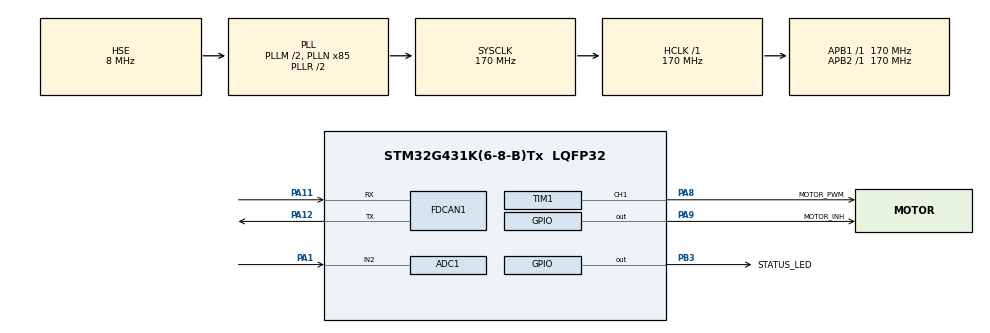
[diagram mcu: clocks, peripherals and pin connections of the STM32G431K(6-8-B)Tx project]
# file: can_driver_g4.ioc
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ADC1.Channel-0\#ChannelRegularConversion=ADC_CHANNEL_2
ADC1.ClockPrescaler=ADC_CLOCK_ASYNC_DIV4
ADC1.NbrOfConversionFlag=1
ADC1.OffsetNumber-0\#ChannelRegularConversion=ADC_OFFSET_NONE
ADC1.Rank-0\#ChannelRegularConversion=1
ADC1.SamplingTime-0\#ChannelRegularConversion=ADC_SAMPLETIME_247CYCLES_5
ADC1.master=1
FDCAN1.AutoRetransmission=ENABLE
FDCAN1.CalculateBaudRateNominal=499999
FDCAN1.CalculateTimeBitNominal=2000
FDCAN1.CalculateTimeQuantumNominal=117.64705882352942
FDCAN1.NominalPrescaler=20
FDCAN1.NominalTimeSeg1=13
FDCAN1.NominalTimeSeg2=3
FDCAN1.ProtocolException=ENABLE
FDCAN1.TransmitPause=ENABLE
Mcu.Family=STM32G4
Mcu.Name=STM32G431K(6-8-B)Tx
Mcu.Package=LQFP32
NVIC.FDCAN1_IT0_IRQn=true\:5\:0\:true\:false\:true\:true\:true\:true
NVIC.PriorityGroup=NVIC_PRIORITYGROUP_4
PA1.Mode=IN2-Single-Ended
PA1.Signal=ADC1_IN2
PA11.Mode=FDCAN_Activate
PA11.Signal=FDCAN1_RX
PA12.Mode=FDCAN_Activate
PA12.Signal=FDCAN1_TX
PA8.GPIO_Label=MOTOR_PWM
PA8.GPIO_Speed=GPIO_SPEED_FREQ_HIGH
PA8.Signal=S_TIM1_CH1
PA9.GPIO_Label=MOTOR_INH
PA9.Signal=GPIO_Output
PB3.GPIO_Label=STATUS_LED
PB3.Signal=GPIO_Output
PF0-OSC_IN.Mode=HSE-External-Oscillator
PF0-OSC_IN.Signal=RCC_OSC_IN
PF1-OSC_OUT.Mode=HSE-External-Oscillator
PF1-OSC_OUT.Signal=RCC_OSC_OUT
ProjectManager.HeapSize=0x200
ProjectManager.StackSize=0x400
ProjectManager.TargetToolchain=CMake
RCC.ADC12Freq_Value=170000000
RCC.AHBFreq_Value=170000000
RCC.APB1Freq_Value=170000000
RCC.APB1TimFreq_Value=170000000
RCC.APB2Freq_Value=170000000
RCC.APB2TimFreq_Value=170000000
RCC.CortexFreq_Value=170000000
RCC.EXTERNAL_CLOCK_VALUE=12288000
RCC.HCLKFreq_Value=170000000
RCC.HSE_VALUE=8000000
RCC.HSI48_VALUE=48000000
RCC.HSI_VALUE=16000000
RCC.LSE_VALUE=32768
RCC.PLLM=RCC_PLLM_DIV2
RCC.PLLN=85
RCC.PLLSourceVirtual=RCC_PLLSOURCE_HSE
RCC.SYSCLKFreq_VALUE=170000000
RCC.SYSCLKSource=RCC_SYSCLKSOURCE_PLLCLK
RCC.USBFreq_Value=170000000
RCC.VCOOutputFreq_Value=340000000
SH.S_TIM1_CH1.0=TIM1_CH1,PWM Generation1 CH1
TIM1.Channel-PWM\ Generation1\ CH1=TIM_CHANNEL_1
TIM1.PeriodNoDither=8499
VP_SYS_VS_DBSignals.Mode=DisableDeadBatterySignals
VP_TIM1_VS_ClockSourceINT.Mode=Internal
board=custom

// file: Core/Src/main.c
/* USER CODE BEGIN Header */
/**
  ******************************************************************************
  * @file           : main.c
  * @brief          : Main program body
  ******************************************************************************
  * @attention
  *
  * Copyright (c) 2025 STMicroelectronics.
  * All rights reserved.
  *
  * This software is licensed under terms that can be found in the LICENSE file
  * in the root directory of this software component.
  * If no LICENSE file comes with this software, it is provided AS-IS.
  *
  ******************************************************************************
  */
/* USER CODE END Header */
#include "main.h"

/* USER CODE BEGIN Includes */
#include "automate.h"
#include "common.h"

#include "left_break.h"
#include "can.h"
#include "controller.h"

/* USER CODE END Includes */

ADC_HandleTypeDef hadc1;

FDCAN_HandleTypeDef hfdcan1;

TIM_HandleTypeDef htim1;

/* USER CODE BEGIN PV */
AppState_t app_state = {0};

/* USER CODE END PV */

void SystemClock_Config(void);
static void MX_GPIO_Init(void);
static void MX_FDCAN1_Init(void);
static void MX_ADC1_Init(void);
static void MX_TIM1_Init(void);
/* USER CODE BEGIN PFP */
void Update_Status_LED(void);
/* USER CODE END PFP */

int main(void)
{

  /* MCU Configuration--------------------------------------------------------*/

  /* Reset of all peripherals, Initializes the Flash interface and the Systick. */
  HAL_Init();

  /* Configure the system clock */
  SystemClock_Config();

  /* Initialize all configured peripherals */
  MX_GPIO_Init();
  MX_FDCAN1_Init();
  MX_ADC1_Init();
  MX_TIM1_Init();
  /* USER CODE BEGIN 2 */

  // Ініціалізація після MX_Init
  HAL_TIM_PWM_Start(&htim1, TIM_CHANNEL_1);
  HAL_ADC_Start(&hadc1);
  HAL_ADCEx_Calibration_Start(&hadc1, ADC_SINGLE_ENDED);

  // Ініціалізація складових пристрою
  CAN_Driver_Init();  // Ініціалізація CAN зʼєднання
  Brake_Init(); // Ініціалізація привода тормозу
  Controller_Init();  // Ініціалізація бізнеслогики

  /* USER CODE END 2 */

  /* Infinite loop */
  while (1)
  {

    /* USER CODE BEGIN 3 */

      // Оновлення позиції (10 мс)
      Brake_UpdatePosition();

      // State machine (20 мс)
      Brake_Update();

      // CAN передача
      CAN_Driver_Transmit();

      // Бізнес-логіка (heartbeat 50ms, telemetry 100ms)
      Business_Loop();

      // Перевірка зв'язку з PC
//      if (!Controller_IsPCAlive()) {
          // PC не відповідає > 200 мс
          // Можлива захисна дія
//      }

    HAL_Delay(1); /* Small delay to prevent busy loop */
  }
  /* USER CODE END 3 */
}

void SystemClock_Config(void)
{
  RCC_OscInitTypeDef RCC_OscInitStruct = {0};
  RCC_ClkInitTypeDef RCC_ClkInitStruct = {0};

  /** Configure the main internal regulator output voltage
  */
  HAL_PWREx_ControlVoltageScaling(PWR_REGULATOR_VOLTAGE_SCALE1_BOOST);

  /** Initializes the RCC Oscillators according to the specified parameters
  * in the RCC_OscInitTypeDef structure.
  */
  RCC_OscInitStruct.OscillatorType = RCC_OSCILLATORTYPE_HSE;
  RCC_OscInitStruct.HSEState = RCC_HSE_ON;
  RCC_OscInitStruct.PLL.PLLState = RCC_PLL_ON;
  RCC_OscInitStruct.PLL.PLLSource = RCC_PLLSOURCE_HSE;
  RCC_OscInitStruct.PLL.PLLM = RCC_PLLM_DIV2;
  RCC_OscInitStruct.PLL.PLLN = 85;
  RCC_OscInitStruct.PLL.PLLP = RCC_PLLP_DIV2;
  RCC_OscInitStruct.PLL.PLLQ = RCC_PLLQ_DIV2;
  RCC_OscInitStruct.PLL.PLLR = RCC_PLLR_DIV2;
  if (HAL_RCC_OscConfig(&RCC_OscInitStruct) != HAL_OK)
  {
    Error_Handler();
  }

  /** Initializes the CPU, AHB and APB buses clocks
  */
  RCC_ClkInitStruct.ClockType = RCC_CLOCKTYPE_HCLK|RCC_CLOCKTYPE_SYSCLK
                              |RCC_CLOCKTYPE_PCLK1|RCC_CLOCKTYPE_PCLK2;
  RCC_ClkInitStruct.SYSCLKSource = RCC_SYSCLKSOURCE_PLLCLK;
  RCC_ClkInitStruct.AHBCLKDivider = RCC_SYSCLK_DIV1;
  RCC_ClkInitStruct.APB1CLKDivider = RCC_HCLK_DIV1;
  RCC_ClkInitStruct.APB2CLKDivider = RCC_HCLK_DIV1;

  if (HAL_RCC_ClockConfig(&RCC_ClkInitStruct, FLASH_LATENCY_4) != HAL_OK)
  {
    Error_Handler();
  }
}

static void MX_ADC1_Init(void)
{

  ADC_MultiModeTypeDef multimode = {0};
  ADC_ChannelConfTypeDef sConfig = {0};

  /** Common config
  */
  hadc1.Instance = ADC1;
  hadc1.Init.ClockPrescaler = ADC_CLOCK_ASYNC_DIV4;
  hadc1.Init.Resolution = ADC_RESOLUTION_12B;
  hadc1.Init.DataAlign = ADC_DATAALIGN_RIGHT;
  hadc1.Init.GainCompensation = 0;
  hadc1.Init.ScanConvMode = ADC_SCAN_DISABLE;
  hadc1.Init.EOCSelection = ADC_EOC_SINGLE_CONV;
  hadc1.Init.LowPowerAutoWait = DISABLE;
  hadc1.Init.ContinuousConvMode = DISABLE;
  hadc1.Init.NbrOfConversion = 1;
  hadc1.Init.DiscontinuousConvMode = DISABLE;
  hadc1.Init.ExternalTrigConv = ADC_SOFTWARE_START;
  hadc1.Init.ExternalTrigConvEdge = ADC_EXTERNALTRIGCONVEDGE_NONE;
  hadc1.Init.DMAContinuousRequests = DISABLE;
  hadc1.Init.Overrun = ADC_OVR_DATA_PRESERVED;
  hadc1.Init.OversamplingMode = DISABLE;
  if (HAL_ADC_Init(&hadc1) != HAL_OK)
  {
    Error_Handler();
  }

  /** Configure the ADC multi-mode
  */
  multimode.Mode = ADC_MODE_INDEPENDENT;
  if (HAL_ADCEx_MultiModeConfigChannel(&hadc1, &multimode) != HAL_OK)
  {
    Error_Handler();
  }

  /** Configure Regular Channel
  */
  sConfig.Channel = ADC_CHANNEL_2;
  sConfig.Rank = ADC_REGULAR_RANK_1;
  sConfig.SamplingTime = ADC_SAMPLETIME_247CYCLES_5;
  sConfig.SingleDiff = ADC_SINGLE_ENDED;
  sConfig.OffsetNumber = ADC_OFFSET_NONE;
  sConfig.Offset = 0;
  if (HAL_ADC_ConfigChannel(&hadc1, &sConfig) != HAL_OK)
  {
    Error_Handler();
  }

}

static void MX_FDCAN1_Init(void)
{

  hfdcan1.Instance = FDCAN1;
  hfdcan1.Init.ClockDivider = FDCAN_CLOCK_DIV1;
  hfdcan1.Init.FrameFormat = FDCAN_FRAME_CLASSIC;
  hfdcan1.Init.Mode = FDCAN_MODE_NORMAL;
  hfdcan1.Init.AutoRetransmission = ENABLE;
  hfdcan1.Init.TransmitPause = ENABLE;
  hfdcan1.Init.ProtocolException = ENABLE;
  hfdcan1.Init.NominalPrescaler = 20;
  hfdcan1.Init.NominalSyncJumpWidth = 1;
  hfdcan1.Init.NominalTimeSeg1 = 13;
  hfdcan1.Init.NominalTimeSeg2 = 3;
  hfdcan1.Init.DataPrescaler = 1;
  hfdcan1.Init.DataSyncJumpWidth = 1;
  hfdcan1.Init.DataTimeSeg1 = 1;
  hfdcan1.Init.DataTimeSeg2 = 1;
  hfdcan1.Init.StdFiltersNbr = 0;
  hfdcan1.Init.ExtFiltersNbr = 0;
  hfdcan1.Init.TxFifoQueueMode = FDCAN_TX_FIFO_OPERATION;
  if (HAL_FDCAN_Init(&hfdcan1) != HAL_OK)
  {
    Error_Handler();
  }

}

static void MX_TIM1_Init(void)
{

  TIM_ClockConfigTypeDef sClockSourceConfig = {0};
  TIM_MasterConfigTypeDef sMasterConfig = {0};
  TIM_OC_InitTypeDef sConfigOC = {0};
  TIM_BreakDeadTimeConfigTypeDef sBreakDeadTimeConfig = {0};

  htim1.Instance = TIM1;
  htim1.Init.Prescaler = 0;
  htim1.Init.CounterMode = TIM_COUNTERMODE_UP;
  htim1.Init.Period = 8499;
  htim1.Init.ClockDivision = TIM_CLOCKDIVISION_DIV1;
  htim1.Init.RepetitionCounter = 0;
  htim1.Init.AutoReloadPreload = TIM_AUTORELOAD_PRELOAD_DISABLE;
  if (HAL_TIM_Base_Init(&htim1) != HAL_OK)
  {
    Error_Handler();
  }
  sClockSourceConfig.ClockSource = TIM_CLOCKSOURCE_INTERNAL;
  if (HAL_TIM_ConfigClockSource(&htim1, &sClockSourceConfig) != HAL_OK)
  {
    Error_Handler();
  }
  if (HAL_TIM_PWM_Init(&htim1) != HAL_OK)
  {
    Error_Handler();
  }
  sMasterConfig.MasterOutputTrigger = TIM_TRGO_RESET;
  sMasterConfig.MasterOutputTrigger2 = TIM_TRGO2_RESET;
  sMasterConfig.MasterSlaveMode = TIM_MASTERSLAVEMODE_DISABLE;
  if (HAL_TIMEx_MasterConfigSynchronization(&htim1, &sMasterConfig) != HAL_OK)
  {
    Error_Handler();
  }
  sConfigOC.OCMode = TIM_OCMODE_PWM1;
  sConfigOC.Pulse = 0;
  sConfigOC.OCPolarity = TIM_OCPOLARITY_HIGH;
  sConfigOC.OCNPolarity = TIM_OCNPOLARITY_HIGH;
  sConfigOC.OCFastMode = TIM_OCFAST_DISABLE;
  sConfigOC.OCIdleState = TIM_OCIDLESTATE_RESET;
  sConfigOC.OCNIdleState = TIM_OCNIDLESTATE_RESET;
  if (HAL_TIM_PWM_ConfigChannel(&htim1, &sConfigOC, TIM_CHANNEL_1) != HAL_OK)
  {
    Error_Handler();
  }
  sBreakDeadTimeConfig.OffStateRunMode = TIM_OSSR_DISABLE;
  sBreakDeadTimeConfig.OffStateIDLEMode = TIM_OSSI_DISABLE;
  sBreakDeadTimeConfig.LockLevel = TIM_LOCKLEVEL_OFF;
  sBreakDeadTimeConfig.DeadTime = 0;
  sBreakDeadTimeConfig.BreakState = TIM_BREAK_DISABLE;
  sBreakDeadTimeConfig.BreakPolarity = TIM_BREAKPOLARITY_HIGH;
  sBreakDeadTimeConfig.BreakFilter = 0;
  sBreakDeadTimeConfig.BreakAFMode = TIM_BREAK_AFMODE_INPUT;
  sBreakDeadTimeConfig.Break2State = TIM_BREAK2_DISABLE;
  sBreakDeadTimeConfig.Break2Polarity = TIM_BREAK2POLARITY_HIGH;
  sBreakDeadTimeConfig.Break2Filter = 0;
  sBreakDeadTimeConfig.Break2AFMode = TIM_BREAK_AFMODE_INPUT;
  sBreakDeadTimeConfig.AutomaticOutput = TIM_AUTOMATICOUTPUT_DISABLE;
  if (HAL_TIMEx_ConfigBreakDeadTime(&htim1, &sBreakDeadTimeConfig) != HAL_OK)
  {
    Error_Handler();
  }
  HAL_TIM_MspPostInit(&htim1);

}

static void MX_GPIO_Init(void)
{
  GPIO_InitTypeDef GPIO_InitStruct = {0};

  /* GPIO Ports Clock Enable */
  __HAL_RCC_GPIOF_CLK_ENABLE();
  __HAL_RCC_GPIOA_CLK_ENABLE();
  __HAL_RCC_GPIOB_CLK_ENABLE();

  /*Configure GPIO pin Output Level */
  HAL_GPIO_WritePin(MOTOR_INH_GPIO_Port, MOTOR_INH_Pin, GPIO_PIN_RESET);

  /*Configure GPIO pin Output Level */
  HAL_GPIO_WritePin(STATUS_LED_GPIO_Port, STATUS_LED_Pin, GPIO_PIN_RESET);

  /*Configure GPIO pin : MOTOR_INH_Pin */
  GPIO_InitStruct.Pin = MOTOR_INH_Pin;
  GPIO_InitStruct.Mode = GPIO_MODE_OUTPUT_PP;
  GPIO_InitStruct.Pull = GPIO_NOPULL;
  GPIO_InitStruct.Speed = GPIO_SPEED_FREQ_LOW;
  HAL_GPIO_Init(MOTOR_INH_GPIO_Port, &GPIO_InitStruct);

  /*Configure GPIO pin : STATUS_LED_Pin */
  GPIO_InitStruct.Pin = STATUS_LED_Pin;
  GPIO_InitStruct.Mode = GPIO_MODE_OUTPUT_PP;
  GPIO_InitStruct.Pull = GPIO_NOPULL;
  GPIO_InitStruct.Speed = GPIO_SPEED_FREQ_LOW;
  HAL_GPIO_Init(STATUS_LED_GPIO_Port, &GPIO_InitStruct);

}

void Error_Handler(void)
{
  __disable_irq();
  while (1)
  {
  }
}
